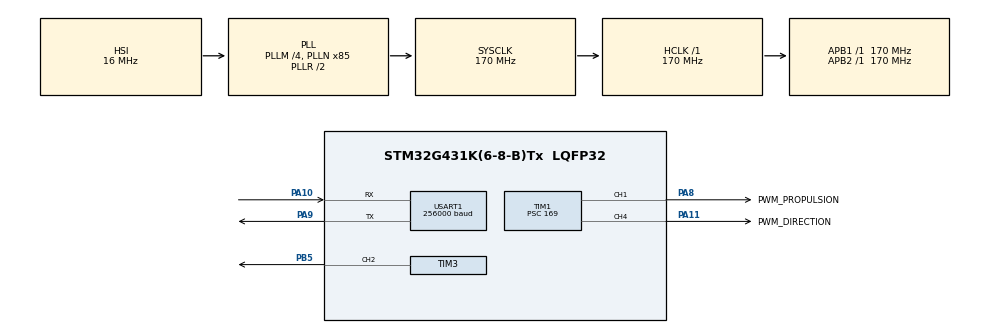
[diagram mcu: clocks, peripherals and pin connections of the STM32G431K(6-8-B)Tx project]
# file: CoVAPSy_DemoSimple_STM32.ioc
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Mcu.Family=STM32G4
Mcu.Name=STM32G431K(6-8-B)Tx
Mcu.Package=LQFP32
NVIC.PriorityGroup=NVIC_PRIORITYGROUP_4
NVIC.TIM2_IRQn=true\:1\:0\:true\:false\:true\:true\:true\:true
NVIC.TIM6_DAC_IRQn=true\:2\:0\:true\:false\:true\:true\:true\:true
NVIC.USART1_IRQn=true\:0\:0\:false\:false\:true\:true\:true\:true
PA10.Mode=Asynchronous
PA10.Signal=USART1_RX
PA11.GPIO_Label=PWM_DIRECTION
PA11.Signal=S_TIM1_CH4
PA13.GPIO_Label=T_SWDIO
PA13.Mode=Serial_Wire
PA13.Signal=SYS_JTMS-SWDIO
PA14.GPIO_Label=T_SWCLK
PA14.Mode=Serial_Wire
PA14.Signal=SYS_JTCK-SWCLK
PA8.GPIO_Label=PWM_PROPULSION
PA8.Signal=S_TIM1_CH1
PA9.Mode=Asynchronous
PA9.Signal=USART1_TX
PB5.Signal=S_TIM3_CH2
ProjectManager.HeapSize=0x200
ProjectManager.StackSize=0x400
ProjectManager.TargetToolchain=STM32CubeIDE
RCC.ADC12Freq_Value=170000000
RCC.AHBFreq_Value=170000000
RCC.APB1Freq_Value=170000000
RCC.APB1TimFreq_Value=170000000
RCC.APB2Freq_Value=170000000
RCC.APB2TimFreq_Value=170000000
RCC.CortexFreq_Value=170000000
RCC.EXTERNAL_CLOCK_VALUE=12288000
RCC.HCLKFreq_Value=170000000
RCC.HSE_VALUE=8000000
RCC.HSI48_VALUE=48000000
RCC.HSI_VALUE=16000000
RCC.LSE_VALUE=32768
RCC.PLLM=RCC_PLLM_DIV4
RCC.PLLN=85
RCC.SYSCLKFreq_VALUE=170000000
RCC.SYSCLKSource=RCC_SYSCLKSOURCE_PLLCLK
RCC.USBFreq_Value=170000000
RCC.VCOOutputFreq_Value=340000000
SH.S_TIM1_CH1.0=TIM1_CH1,PWM Generation1 CH1
SH.S_TIM1_CH4.0=TIM1_CH4,PWM Generation4 CH4
SH.S_TIM3_CH2.0=TIM3_CH2,PWM Generation2 CH2
TIM1.Channel-PWM\ Generation1\ CH1=TIM_CHANNEL_1
TIM1.Channel-PWM\ Generation4\ CH4=TIM_CHANNEL_4
TIM1.PeriodNoDither=20000
TIM1.Prescaler=169
TIM1.PulseNoDither_1=1500
TIM1.PulseNoDither_4=1500
TIM2.Prescaler=169
TIM3.Channel-PWM\ Generation2\ CH2=TIM_CHANNEL_2
TIM3.OCFastMode_PWM-PWM\ Generation2\ CH2=TIM_OCFAST_DISABLE
TIM3.PeriodNoDither=400
TIM3.Prescaler=16
TIM6.PeriodNoDither=20000
TIM6.Prescaler=169
USART1.BaudRate=256000
USART1.VirtualMode-Asynchronous=VM_ASYNC
VP_TIM1_VS_ClockSourceINT.Mode=Internal
VP_TIM2_VS_ClockSourceINT.Mode=Internal
VP_TIM3_VS_ClockSourceINT.Mode=Internal
VP_TIM6_VS_ClockSourceINT.Mode=Enable_Timer
board=NUCLEO-G431KB

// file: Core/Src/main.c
/* USER CODE BEGIN Header */
/**
  ******************************************************************************
  * @file           : main.c
  * @brief          : Main program body
  ******************************************************************************
  * @attention
  *
  * Copyright (c) 2023 STMicroelectronics.
  * All rights reserved.
  *
  * This software is licensed under terms that can be found in the LICENSE file
  * in the root directory of this software component.
  * If no LICENSE file comes with this software, it is provided AS-IS.
  *
  ******************************************************************************
  */
/* USER CODE END Header */
#include "main.h"
#include "tim.h"
#include "usart.h"
#include "gpio.h"

/* USER CODE BEGIN Includes */
#include "CoVAPSy_moteurs.h"
#include "CoVAPSy_LiDAR.h"

/* USER CODE END Includes */

/* USER CODE BEGIN PV */
//////////////////////////////////////////////////////////////////////////
//////////////////////     Variables pour le LiDAR          //////////////
//////////////////////////////////////////////////////////////////////////
uint8_t Data_RX_LIDAR;
uint16_t Data_Lidar_mm[360];
uint8_t drapeau_fin_tour = 0;
uint16_t data_lidar_mm_main[360];

//////////////////////////////////////////////////////////////////////////
/////////     Variables pour la propulsion et direction          ////////
//////////////////////////////////////////////////////////////////////////
float angle_degre,vitesse_m_s;

/* USER CODE END PV */

void SystemClock_Config(void);

int main(void)
{
  /* USER CODE BEGIN 1 */
	uint8_t drapeau_fin_tour_old = 0;			// Variable pour le LiDAR
	uint32_t i = 0;
  /* USER CODE END 1 */

  /* MCU Configuration--------------------------------------------------------*/

  /* Reset of all peripherals, Initializes the Flash interface and the Systick. */
  HAL_Init();

  /* Configure the system clock */
  SystemClock_Config();

  /* Initialize all configured peripherals */
  MX_GPIO_Init();
  MX_TIM1_Init();
  MX_TIM2_Init();
  MX_USART1_UART_Init();
  MX_TIM6_Init();
  MX_TIM3_Init();
  /* USER CODE BEGIN 2 */

  ////////////////////////////////////////////////////////////////////
  ///////// Initialisation de la propulsion et de la direction ///////
  ////////////////////////////////////////////////////////////////////
  Propulsion_init();
  Direction_init();
  /* USER CODE END 2 */

  /* Infinite loop */
  /* USER CODE BEGIN WHILE */

  /////////////////////////////////////////////////////////////////////
  ////////// Commande Direction à différents angles ///////////////////
  /////////////////////////////////////////////////////////////////////
  set_direction_degres(0);
  HAL_Delay(500);
  set_direction_degres(-10);
  HAL_Delay(500);
  set_direction_degres(10);
  HAL_Delay(500);
  set_direction_degres(0);
  HAL_Delay(500);

  /////////////////////////////////////////////////////////////////////
  ////////// Commande Propulsion à différentes vitesses ///////////////
  /////////////////////////////////////////////////////////////////////
  set_vitesse_m_s(1.0);
  HAL_Delay(1000);
  set_vitesse_m_s(2.0);
  HAL_Delay(1000);
  set_vitesse_m_s(3.0);
  HAL_Delay(1000);
  set_vitesse_m_s(0.0);
  HAL_Delay(1000);
  recule();
  HAL_Delay(1000);
  set_vitesse_m_s(0.0);
  HAL_Delay(1000);

  ////////////////////////////////////////////////////////////////////
  //////////////////// Initialisation du LiDAR ///////////////////////
  ////////////////////////////////////////////////////////////////////
  LiDAR_init();

  while (1)
  {
  ///////////////////////////////////////////////////////////////////////////////////////////
  //Recopie du tableau lidar en fin de tour, avec passage de sens horaire à sens trigo///////
  ///////////////////////////////////////////////////////////////////////////////////////////
	  if((drapeau_fin_tour == 1) && (drapeau_fin_tour_old == 0))
		{
		  for (i=0;i<360;i++)
		  {
			  data_lidar_mm_main[i]=Data_Lidar_mm[i];
		  }

		  //////////////////////////////////////////////////////////////////////////////
		  /////// Gestion de la direction en fonction des données LIDAR
		  //////////////////////////////////////////////////////////////////////////////
			  angle_degre = 0.02*(data_lidar_mm_main[60]-data_lidar_mm_main[300]); //distance à 60° - distance à -60°
		      set_direction_degres(angle_degre);

		      vitesse_m_s = 0.5;
		      set_vitesse_m_s(vitesse_m_s);
		}
	  drapeau_fin_tour_old = drapeau_fin_tour;

    /* USER CODE END WHILE */

  }
}

void SystemClock_Config(void)
{
  RCC_OscInitTypeDef RCC_OscInitStruct = {0};
  RCC_ClkInitTypeDef RCC_ClkInitStruct = {0};

  /** Configure the main internal regulator output voltage
  */
  HAL_PWREx_ControlVoltageScaling(PWR_REGULATOR_VOLTAGE_SCALE1_BOOST);

  /** Initializes the RCC Oscillators according to the specified parameters
  * in the RCC_OscInitTypeDef structure.
  */
  RCC_OscInitStruct.OscillatorType = RCC_OSCILLATORTYPE_HSI;
  RCC_OscInitStruct.HSIState = RCC_HSI_ON;
  RCC_OscInitStruct.HSICalibrationValue = RCC_HSICALIBRATION_DEFAULT;
  RCC_OscInitStruct.PLL.PLLState = RCC_PLL_ON;
  RCC_OscInitStruct.PLL.PLLSource = RCC_PLLSOURCE_HSI;
  RCC_OscInitStruct.PLL.PLLM = RCC_PLLM_DIV4;
  RCC_OscInitStruct.PLL.PLLN = 85;
  RCC_OscInitStruct.PLL.PLLP = RCC_PLLP_DIV2;
  RCC_OscInitStruct.PLL.PLLQ = RCC_PLLQ_DIV2;
  RCC_OscInitStruct.PLL.PLLR = RCC_PLLR_DIV2;
  if (HAL_RCC_OscConfig(&RCC_OscInitStruct) != HAL_OK)
  {
    Error_Handler();
  }

  /** Initializes the CPU, AHB and APB buses clocks
  */
  RCC_ClkInitStruct.ClockType = RCC_CLOCKTYPE_HCLK|RCC_CLOCKTYPE_SYSCLK
                              |RCC_CLOCKTYPE_PCLK1|RCC_CLOCKTYPE_PCLK2;
  RCC_ClkInitStruct.SYSCLKSource = RCC_SYSCLKSOURCE_PLLCLK;
  RCC_ClkInitStruct.AHBCLKDivider = RCC_SYSCLK_DIV1;
  RCC_ClkInitStruct.APB1CLKDivider = RCC_HCLK_DIV1;
  RCC_ClkInitStruct.APB2CLKDivider = RCC_HCLK_DIV1;

  if (HAL_RCC_ClockConfig(&RCC_ClkInitStruct, FLASH_LATENCY_4) != HAL_OK)
  {
    Error_Handler();
  }
}

/* USER CODE BEGIN 4 */
void HAL_UART_RxCpltCallback(UART_HandleTypeDef *huart) {
	static uint32_t index = 0;
	static uint8_t drapeau_demarrage = 0;	// Variable pour indiquer la réception des 7 premiers octets
	static uint8_t tableau_trame[7];		// Variable de stockage des 7 premiers octets
	uint16_t angle;
	uint16_t distance;

	  //////////////////////////////////////////////////////////////////////////////
	  /////// Réception des sept octets correspondant au descriptor     ////////////
	  //////////////////////////////////////////////////////////////////////////////
	if(drapeau_demarrage == 0){

		tableau_trame[index]=Data_RX_LIDAR;
		index++;

	}
	if ((index == 7) && (drapeau_demarrage == 0)) {
		index = 0;
		drapeau_demarrage = 1;				// Fin des sept octets du descriptor

	}

	  //////////////////////////////////////////////////////////////////////////////
	  /////// Réception des données par groupe de 5 octets          	   /////////
	  /////// Qualité (1 octet), Angle (2 octets) et Distance (2 octets)   /////////
	  //////////////////////////////////////////////////////////////////////////////
	if (drapeau_demarrage == 1) {
		if (index <= 4) {
			tableau_trame[index] = Data_RX_LIDAR;
			if(tableau_trame[0] > 0x02)
				index++;

		}
		  ///////////////////////////////////////////////////////////
		  /////// Traitement de donnée pour convertir      	/////////
		  /////// les octets reçus en données réelles       /////////
		  //////////////////////////////////////////////////////////
		if (index >= 5) {
			index = 0;
			angle = ((uint16_t) tableau_trame[2] << 1)
					+ ((uint16_t) (tableau_trame[1] & 0x80) >> 7);
			distance = ((uint16_t) tableau_trame[4] << 6)
					+ ((uint16_t) (tableau_trame[3] & 0x80) >> 2);

			////// Stockage de la distance mesurée dans le tableau à l'indice associé à l'angle
			if (angle < 360)
				Data_Lidar_mm[angle] = distance;

			  ///////////////////////////////////////////////////////////
			  ///////  Détection de la fin d'un tour    	    /////////
			  //////////////////////////////////////////////////////////
			if ((angle > 100) && (angle < 180) && (drapeau_fin_tour == 0)) {
				drapeau_fin_tour = 1;
			}
			if ((angle > 270) && (angle < 360) && (drapeau_fin_tour == 1)) {
				drapeau_fin_tour = 0;
			}

		}

	}

	///// Ré-activation de l'interruption UART RX
	HAL_UART_Receive_IT(&huart1, &Data_RX_LIDAR, 1);
}
/* USER CODE END 4 */

void Error_Handler(void)
{
  __disable_irq();
  while (1)
  {
  }
}
